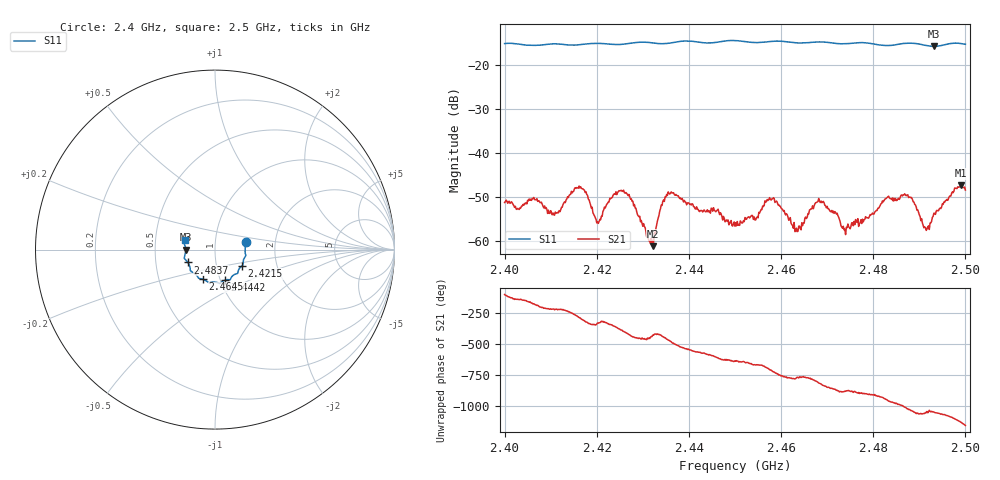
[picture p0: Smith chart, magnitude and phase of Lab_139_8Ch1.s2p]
# Hz S RI R 50
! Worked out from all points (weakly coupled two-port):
!   601 points, 2.4 GHz to 2.5 GHz, reference 50 ohm
!   highest |S21| = -47.36 dB at 2.499 GHz (marker M1); lowest = -61.2 dB at 2.4322 GHz (marker M2)
!   lowest |S11| = -15.7 dB at 2.4932 GHz (marker M3), VSWR 1.39, Z = 35.9 - j0.0544 ohm
!   |S11| at or under -10 dB: start of sweep to end of sweep
!   S12 and S22 are empty: the file has one direction only
!   S11 on the Smith chart (normalised r, x): 2.4 GHz: 1.41, +0.12; 2.4215 GHz: 1.33, -0.25; 2.4442 GHz: 1.05, -0.37; 2.4645 GHz: 0.83, -0.29; 2.4837 GHz: 0.73, -0.11; 2.5 GHz: 0.71, +0.07
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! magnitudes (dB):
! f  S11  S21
! 2.4 GHz  -15.1  -51.2
! 2.4108 GHz  -15.2  -54.1
! 2.4167 GHz  -15.3  -48.0
! 2.42 GHz  -15.0  -55.8
! 2.4215 GHz  -15.1  -52.9
! 2.4262 GHz  -15.2  -49.1
! 2.4322 GHz  -15.0  -61.2
! 2.4333 GHz  -15.1  -54.8
! 2.436 GHz  -15.0  -49.1
! 2.4442 GHz  -15.0  -53.4
! 2.45 GHz  -14.4  -56.6
! 2.458 GHz  -14.6  -50.4
! 2.4645 GHz  -15.0  -55.8
! 2.4667 GHz  -14.8  -52.7
! 2.4738 GHz  -15.1  -57.3
! 2.4833 GHz  -15.5  -49.8
! 2.4837 GHz  -15.5  -50.3
! 2.488 GHz  -15.0  -50.0
! 2.4913 GHz  -15.5  -56.9
! 2.4932 GHz  -15.7  -53.7
! 2.499 GHz  -15.1  -47.4
! 2.5 GHz  -15.3  -48.4
